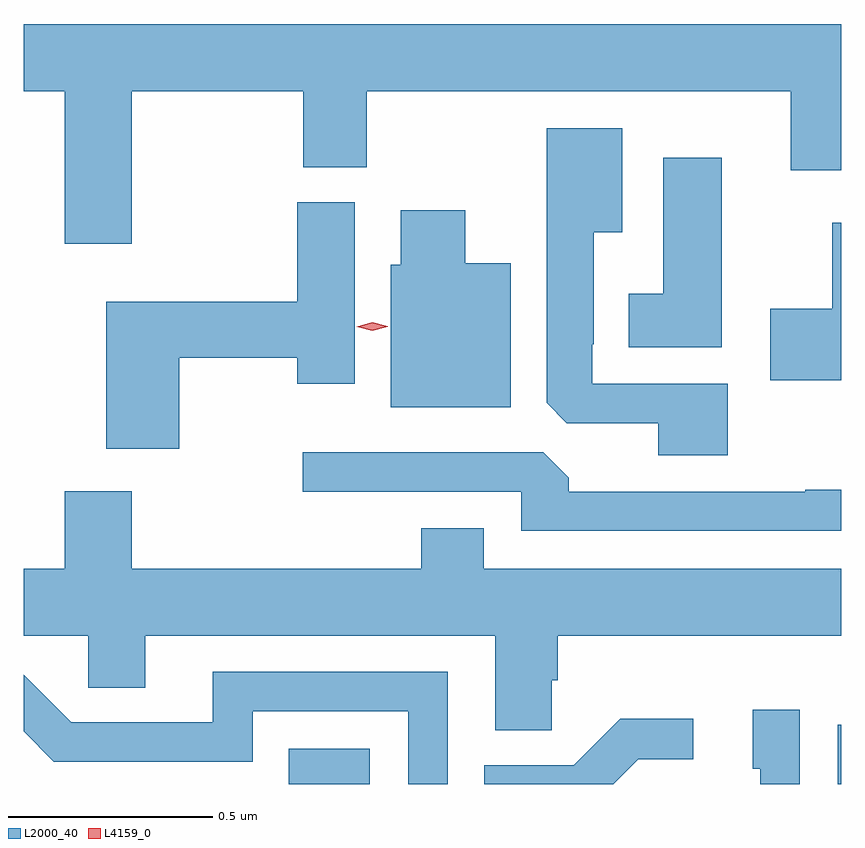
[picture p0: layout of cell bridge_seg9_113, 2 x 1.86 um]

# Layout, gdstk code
import gdstk
lib = gdstk.Library(unit=1e-6, precision=1e-09)
def R(c, l, rs):  # rectangles x0, y0, x1, y1
    for r in rs: c.add(gdstk.rectangle(r[:2], r[2:], *l))
def P(c, l, *ps):  # polygons
    for p in ps: c.add(gdstk.Polygon(p, *l))
L2000_40 = (2000, 40)
L4159_0 = (4159, 0)

bridge_seg9_113 = lib.new_cell('bridge_seg9_113')
R(bridge_seg9_113, L2000_40, [(633.088,1218.701,633.286,1218.787), (634.431,1218.701,634.44,1218.846)])
P(bridge_seg9_113, L2000_40, [(632.704,1220.396),(633.124,1220.396),(633.124,1220.209),(633.279,1220.209),(633.279,1220.396),(634.316,1220.396),(634.316,1220.202),(634.44,1220.202),(634.44,1220.56),(632.44,1220.56),(632.44,1220.396),(632.54,1220.396),(632.54,1220.022),(632.704,1220.022)],
  [(634.162,1219.68),(633.831,1219.68),(633.831,1219.777),(633.835,1219.777),(633.835,1220.051),(633.904,1220.051),(633.904,1220.305),(633.719,1220.305),(633.719,1219.633),(633.768,1219.584),(633.992,1219.584),(633.992,1219.505),(634.162,1219.505)],
  [(634.147,1220.233),(634.004,1220.233),(634.004,1219.9),(633.92,1219.9),(633.92,1219.769),(634.147,1219.769)],
  [(632.82,1219.744),(633.109,1219.744),(633.109,1219.68),(633.25,1219.68),(633.25,1220.124),(633.109,1220.124),(633.109,1219.88),(632.642,1219.88),(632.642,1219.521),(632.82,1219.521)],
  [(633.631,1219.975),(633.52,1219.975),(633.52,1220.104),(633.362,1220.104),(633.362,1219.971),(633.338,1219.971),(633.338,1219.622),(633.631,1219.622)],
  [(634.44,1220.074),(634.418,1220.074),(634.418,1219.863),(634.266,1219.863),(634.266,1219.688),(634.44,1219.688)],
  [(634.44,1219.421),(634.352,1219.421),(634.352,1219.416),(633.773,1219.416),(633.773,1219.45),(633.711,1219.512),(633.123,1219.512),(633.123,1219.416),(633.657,1219.416),(633.657,1219.32),(634.44,1219.32)],
  [(633.732,1218.955),(633.746,1218.955),(633.746,1219.064),(634.44,1219.064),(634.44,1219.228),(633.565,1219.228),(633.565,1219.327),(633.413,1219.327),(633.413,1219.228),(632.704,1219.228),(632.704,1219.417),(632.54,1219.417),(632.54,1219.228),(632.44,1219.228),(632.44,1219.064),(632.598,1219.064),(632.598,1218.937),(632.737,1218.937),(632.737,1219.064),(633.593,1219.064),(633.593,1218.832),(633.732,1218.832)],
  [(633.477,1218.975),(632.903,1218.975),(632.903,1218.852),(632.556,1218.852),(632.44,1218.968),(632.44,1218.83),(632.514,1218.756),(633,1218.756),(633,1218.879),(633.381,1218.879),(633.381,1218.701),(633.477,1218.701)],
  [(634.338,1218.883),(634.223,1218.883),(634.223,1218.738),(634.242,1218.738),(634.242,1218.701),(634.338,1218.701)],
  [(633.943,1218.762),(634.078,1218.762),(634.078,1218.86),(633.899,1218.86),(633.786,1218.747),(633.567,1218.747),(633.567,1218.701),(633.882,1218.701)])
P(bridge_seg9_113, L4159_0, [(633.293,1219.81),(633.255,1219.819),(633.255,1219.819),(633.255,1219.819),(633.293,1219.83),(633.331,1219.821),(633.331,1219.82),(633.331,1219.82)])

lib.write_gds('bridge_seg9_113.gds')
